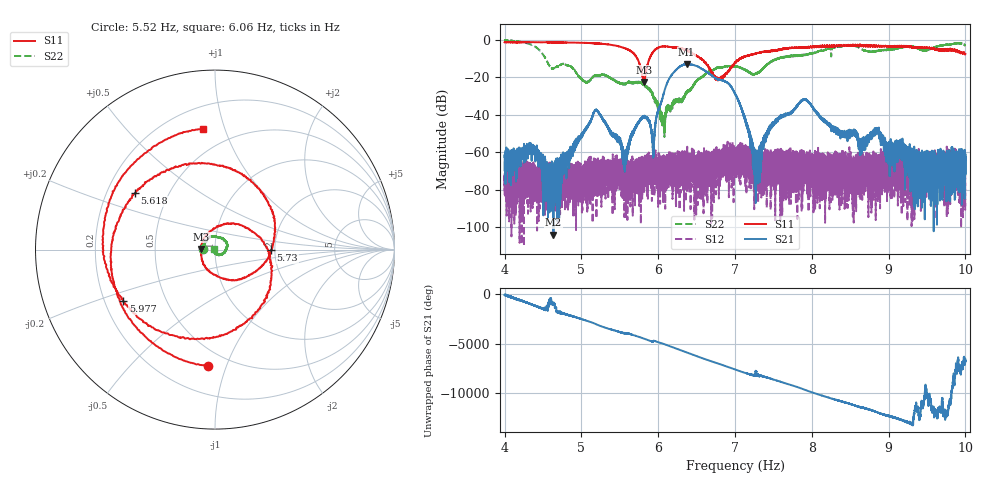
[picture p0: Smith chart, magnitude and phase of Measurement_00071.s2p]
!Created with skrf (http://scikit-rf.org).
# Hz S RI R 50.0
!freq ReS11 ImS11 ReS21 ImS21 ReS12 ImS12 ReS22 ImS22
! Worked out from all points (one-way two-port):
!   14001 points, 4 Hz to 10 Hz, reference 50 ohm
!   highest |S21| = -12.86 dB at 6.369 Hz (marker M1); lowest = -104.1 dB at 4.636 Hz (marker M2)
!   lowest |S11| = -22.4 dB at 5.812 Hz (marker M3), VSWR 1.16, Z = 43 + j0.256 ohm
!   |S11| at or under -10 dB: 5.729 Hz to 5.886 Hz (157.2 mHz wide, 2.71 % of centre); 6.563 Hz to 7.055 Hz (492.3 mHz wide, 7.23 % of centre); 7.055342 Hz to 7.058644 Hz (3.302 mHz wide, 0.0468 % of centre) (the widest 3 of 12)
!   |S22| runs from -51.8 to -0.2 dB; largest |S21 - S12| = 0.23
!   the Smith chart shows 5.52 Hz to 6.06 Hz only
!   S11 on the Smith chart (normalised r, x): 5.52 Hz: 0.39, -0.87; 5.618 Hz: 0.32, +0.29; 5.73 Hz: 1.91, -0.01; 5.977 Hz: 0.28, -0.24; 6.06 Hz: 0.34, +0.85
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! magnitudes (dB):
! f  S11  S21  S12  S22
! 4 Hz  -1.1  -62.6  -73.4  -0.3
! 4.363 Hz  -1.1  -59.6  -74.8  -2.8
! 4.636 Hz  -1.2  -104.1  -74.5  -15.1
! 5 Hz  -1.4  -51.5  -73.8  -20.8
! 5.197 Hz  -1.8  -37.6  -74.2  -18.8
! 5.52 Hz  -3.8  -54.6  -62.8  -23.5
! 5.618 Hz  -5.3  -55.5  -68.6  -22.4
! 5.73 Hz  -10.1  -44.5  -73.1  -22.6
! 5.812 Hz  -22.4  -41.2  -63.2  -24.1
! 5.931 Hz  -6.5  -59.3  -69.6  -29.0
! 5.977 Hz  -4.6  -41.4  -72.3  -33.3
! 6 Hz  -4.1  -37.5  -72.7  -34.7
! 6.06 Hz  -3.4  -30.4  -69.3  -44.5
! 6.369 Hz  -5.4  -12.9  -60.7  -27.9
! 6.775 Hz  -21.2  -21.0  -64.0  -14.9
! 7 Hz  -12.1  -28.6  -67.8  -14.0
! 7.284 Hz  -7.0  -64.1  -71.7  -17.8
! 7.5 Hz  -5.6  -45.4  -59.8  -10.8
! 8 Hz  -3.8  -35.4  -67.6  -6.9
! 8.85 Hz  -3.4  -48.8  -64.1  -5.8
! 9 Hz  -3.4  -57.3  -78.1  -5.0
! 10 Hz  -7.4  -71.4  -72.6  -3.0
